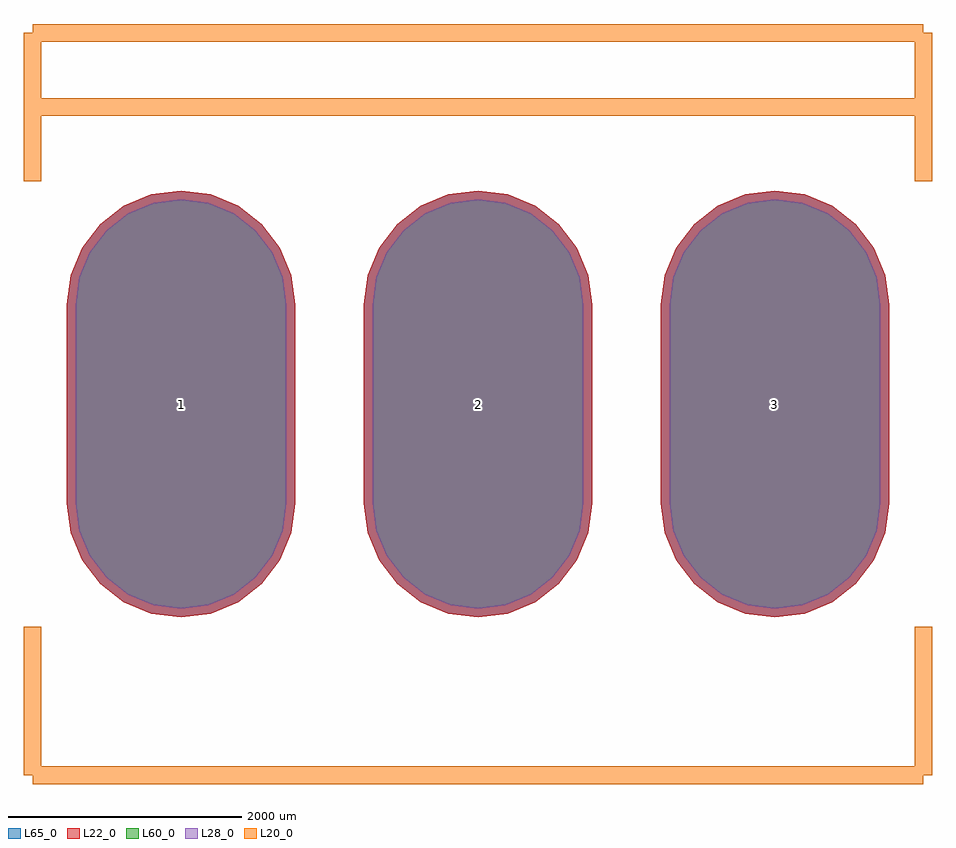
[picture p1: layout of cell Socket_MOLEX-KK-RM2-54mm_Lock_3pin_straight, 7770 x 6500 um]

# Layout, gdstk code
import gdstk
lib = gdstk.Library(unit=1e-6, precision=1e-09)
def P(c, l, *ps):  # polygons
    for p in ps: c.add(gdstk.Polygon(p, *l))
L20_0 = (20, 0)
L22_0 = (22, 0)
L28_0 = (28, 0)
L60_0 = (60, 0)
L65_0 = (65, 0)

socket_molex_kk_rm2_54mm = lib.new_cell('Socket_MOLEX-KK-RM2-54mm_Lock_3pin_straight')
P(socket_molex_kk_rm2_54mm, L22_0, [(2540,-1825.06),(2792.46,-1791.823),(3027.715,-1694.377),(3229.733,-1539.363),(3384.747,-1337.345),(3482.193,-1102.09),(3515.43,-849.63),(3515.43,849.63),(3482.193,1102.09),(3384.747,1337.345),(3229.733,1539.363),(3027.715,1694.377),(2792.46,1791.823),(2540,1825.06),(2287.54,1791.823),(2052.285,1694.377),(1850.267,1539.363),(1695.253,1337.345),(1597.807,1102.09),(1564.57,849.63),(1564.57,-849.63),(1597.807,-1102.09),(1695.253,-1337.345),(1850.267,-1539.363),(2052.285,-1694.377),(2287.54,-1791.823)],
  [(0,-1825.06),(252.46,-1791.823),(487.715,-1694.377),(689.733,-1539.363),(844.747,-1337.345),(942.193,-1102.09),(975.43,-849.63),(975.43,849.63),(942.193,1102.09),(844.747,1337.345),(689.733,1539.363),(487.715,1694.377),(252.46,1791.823),(0,1825.06),(-252.46,1791.823),(-487.715,1694.377),(-689.733,1539.363),(-844.747,1337.345),(-942.193,1102.09),(-975.43,849.63),(-975.43,-849.63),(-942.193,-1102.09),(-844.747,-1337.345),(-689.733,-1539.363),(-487.715,-1694.377),(-252.46,-1791.823)],
  [(-2540,-1825.06),(-2287.54,-1791.823),(-2052.285,-1694.377),(-1850.267,-1539.363),(-1695.253,-1337.345),(-1597.807,-1102.09),(-1564.57,-849.63),(-1564.57,849.63),(-1597.807,1102.09),(-1695.253,1337.345),(-1850.267,1539.363),(-2052.285,1694.377),(-2287.54,1791.823),(-2540,1825.06),(-2792.46,1791.823),(-3027.715,1694.377),(-3229.733,1539.363),(-3384.747,1337.345),(-3482.193,1102.09),(-3515.43,849.63),(-3515.43,-849.63),(-3482.193,-1102.09),(-3384.747,-1337.345),(-3229.733,-1539.363),(-3027.715,-1694.377),(-2792.46,-1791.823)])
P(socket_molex_kk_rm2_54mm, L28_0, [(2540,-1750.06),(2773.048,-1719.379),(2990.215,-1629.425),(3176.7,-1486.33),(3319.795,-1299.845),(3409.749,-1082.678),(3440.43,-849.63),(3440.43,849.63),(3409.749,1082.678),(3319.795,1299.845),(3176.7,1486.33),(2990.215,1629.425),(2773.048,1719.379),(2540,1750.06),(2306.952,1719.379),(2089.785,1629.425),(1903.3,1486.33),(1760.205,1299.845),(1670.251,1082.678),(1639.57,849.63),(1639.57,-849.63),(1670.251,-1082.678),(1760.205,-1299.845),(1903.3,-1486.33),(2089.785,-1629.425),(2306.952,-1719.379)],
  [(0,-1750.06),(233.048,-1719.379),(450.215,-1629.425),(636.7,-1486.33),(779.795,-1299.845),(869.749,-1082.678),(900.43,-849.63),(900.43,849.63),(869.749,1082.678),(779.795,1299.845),(636.7,1486.33),(450.215,1629.425),(233.048,1719.379),(0,1750.06),(-233.048,1719.379),(-450.215,1629.425),(-636.7,1486.33),(-779.795,1299.845),(-869.749,1082.678),(-900.43,849.63),(-900.43,-849.63),(-869.749,-1082.678),(-779.795,-1299.845),(-636.7,-1486.33),(-450.215,-1629.425),(-233.048,-1719.379)],
  [(-2540,-1750.06),(-2306.952,-1719.379),(-2089.785,-1629.425),(-1903.3,-1486.33),(-1760.205,-1299.845),(-1670.251,-1082.678),(-1639.57,-849.63),(-1639.57,849.63),(-1670.251,1082.678),(-1760.205,1299.845),(-1903.3,1486.33),(-2089.785,1629.425),(-2306.952,1719.379),(-2540,1750.06),(-2773.048,1719.379),(-2990.215,1629.425),(-3176.7,1486.33),(-3319.795,1299.845),(-3409.749,1082.678),(-3440.43,849.63),(-3440.43,-849.63),(-3409.749,-1082.678),(-3319.795,-1299.845),(-3176.7,-1486.33),(-2990.215,-1629.425),(-2773.048,-1719.379)])
P(socket_molex_kk_rm2_54mm, L60_0, [(2540,-1750.06),(2773.048,-1719.379),(2990.215,-1629.425),(3176.7,-1486.33),(3319.795,-1299.845),(3409.749,-1082.678),(3440.43,-849.63),(3440.43,849.63),(3409.749,1082.678),(3319.795,1299.845),(3176.7,1486.33),(2990.215,1629.425),(2773.048,1719.379),(2540,1750.06),(2306.952,1719.379),(2089.785,1629.425),(1903.3,1486.33),(1760.205,1299.845),(1670.251,1082.678),(1639.57,849.63),(1639.57,-849.63),(1670.251,-1082.678),(1760.205,-1299.845),(1903.3,-1486.33),(2089.785,-1629.425),(2306.952,-1719.379)],
  [(0,-1750.06),(233.048,-1719.379),(450.215,-1629.425),(636.7,-1486.33),(779.795,-1299.845),(869.749,-1082.678),(900.43,-849.63),(900.43,849.63),(869.749,1082.678),(779.795,1299.845),(636.7,1486.33),(450.215,1629.425),(233.048,1719.379),(0,1750.06),(-233.048,1719.379),(-450.215,1629.425),(-636.7,1486.33),(-779.795,1299.845),(-869.749,1082.678),(-900.43,849.63),(-900.43,-849.63),(-869.749,-1082.678),(-779.795,-1299.845),(-636.7,-1486.33),(-450.215,-1629.425),(-233.048,-1719.379)],
  [(-2540,-1750.06),(-2306.952,-1719.379),(-2089.785,-1629.425),(-1903.3,-1486.33),(-1760.205,-1299.845),(-1670.251,-1082.678),(-1639.57,-849.63),(-1639.57,849.63),(-1670.251,1082.678),(-1760.205,1299.845),(-1903.3,1486.33),(-2089.785,1629.425),(-2306.952,1719.379),(-2540,1750.06),(-2773.048,1719.379),(-2990.215,1629.425),(-3176.7,1486.33),(-3319.795,1299.845),(-3409.749,1082.678),(-3440.43,849.63),(-3440.43,-849.63),(-3409.749,-1082.678),(-3319.795,-1299.845),(-3176.7,-1486.33),(-2990.215,-1629.425),(-2773.048,-1719.379)])
P(socket_molex_kk_rm2_54mm, L65_0, [(2540,-1825.06),(2792.46,-1791.823),(3027.715,-1694.377),(3229.733,-1539.363),(3384.747,-1337.345),(3482.193,-1102.09),(3515.43,-849.63),(3515.43,849.63),(3482.193,1102.09),(3384.747,1337.345),(3229.733,1539.363),(3027.715,1694.377),(2792.46,1791.823),(2540,1825.06),(2287.54,1791.823),(2052.285,1694.377),(1850.267,1539.363),(1695.253,1337.345),(1597.807,1102.09),(1564.57,849.63),(1564.57,-849.63),(1597.807,-1102.09),(1695.253,-1337.345),(1850.267,-1539.363),(2052.285,-1694.377),(2287.54,-1791.823)],
  [(0,-1825.06),(252.46,-1791.823),(487.715,-1694.377),(689.733,-1539.363),(844.747,-1337.345),(942.193,-1102.09),(975.43,-849.63),(975.43,849.63),(942.193,1102.09),(844.747,1337.345),(689.733,1539.363),(487.715,1694.377),(252.46,1791.823),(0,1825.06),(-252.46,1791.823),(-487.715,1694.377),(-689.733,1539.363),(-844.747,1337.345),(-942.193,1102.09),(-975.43,849.63),(-975.43,-849.63),(-942.193,-1102.09),(-844.747,-1337.345),(-689.733,-1539.363),(-487.715,-1694.377),(-252.46,-1791.823)],
  [(-2540,-1825.06),(-2287.54,-1791.823),(-2052.285,-1694.377),(-1850.267,-1539.363),(-1695.253,-1337.345),(-1597.807,-1102.09),(-1564.57,-849.63),(-1564.57,849.63),(-1597.807,1102.09),(-1695.253,1337.345),(-1850.267,1539.363),(-2052.285,1694.377),(-2287.54,1791.823),(-2540,1825.06),(-2792.46,1791.823),(-3027.715,1694.377),(-3229.733,1539.363),(-3384.747,1337.345),(-3482.193,1102.09),(-3515.43,849.63),(-3515.43,-849.63),(-3482.193,-1102.09),(-3384.747,-1337.345),(-3229.733,-1539.363),(-3027.715,-1694.377),(-2792.46,-1791.823)])
socket_molex_kk_rm2_54mm.add(gdstk.FlexPath([(-3810,-3175),(-3810,-1905)], 149.998, ends="flush", simple_path=True, layer=20, datatype=0))  # L20_0
socket_molex_kk_rm2_54mm.add(gdstk.FlexPath([(3810,-3175),(-3810,-3175)], 149.998, ends="flush", simple_path=True, layer=20, datatype=0))  # L20_0
socket_molex_kk_rm2_54mm.add(gdstk.FlexPath([(3810,3175),(3810,1905)], 149.998, ends="flush", simple_path=True, layer=20, datatype=0))  # L20_0
socket_molex_kk_rm2_54mm.add(gdstk.FlexPath([(-3810,3175),(3810,3175)], 149.998, ends="flush", simple_path=True, layer=20, datatype=0))  # L20_0
socket_molex_kk_rm2_54mm.add(gdstk.FlexPath([(-3810,1905),(-3810,3175)], 149.998, ends="flush", simple_path=True, layer=20, datatype=0))  # L20_0
socket_molex_kk_rm2_54mm.add(gdstk.FlexPath([(3810,-1905),(3810,-3175)], 149.998, ends="flush", simple_path=True, layer=20, datatype=0))  # L20_0
socket_molex_kk_rm2_54mm.add(gdstk.FlexPath([(3810,2540),(-3810,2540)], 149.998, ends="flush", simple_path=True, layer=20, datatype=0))  # L20_0
socket_molex_kk_rm2_54mm.add(gdstk.Label('3', (2540,0), layer=28, texttype=0))
socket_molex_kk_rm2_54mm.add(gdstk.Label('2', (0,0), layer=28, texttype=0))
socket_molex_kk_rm2_54mm.add(gdstk.Label('1', (-2540,0), layer=28, texttype=0))
socket_molex_kk_rm2_54mm.add(gdstk.Label('type', (0,-5080), layer=9, texttype=0))
socket_molex_kk_rm2_54mm.add(gdstk.Label('devicename', (0,5080), layer=9, texttype=0))

lib.write_gds('Socket_MOLEX-KK-RM2-54mm_Lock_3pin_straight.gds')
